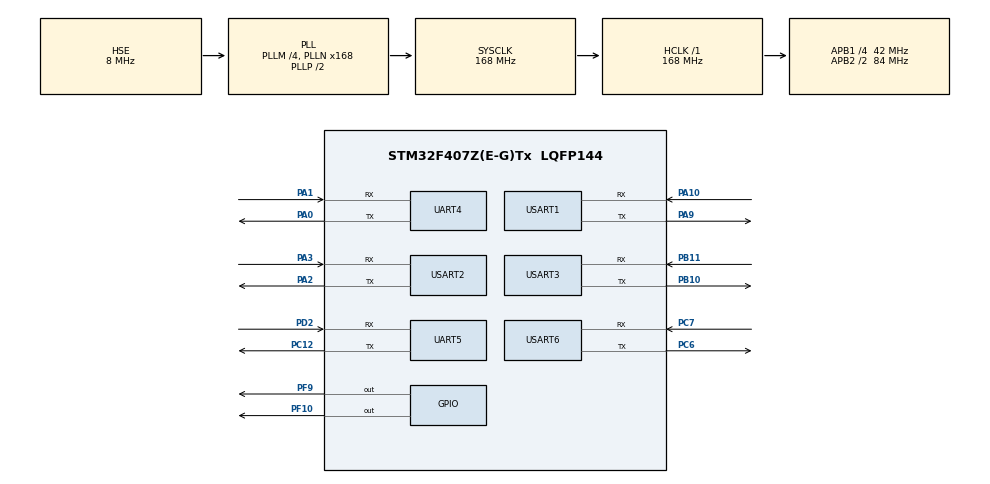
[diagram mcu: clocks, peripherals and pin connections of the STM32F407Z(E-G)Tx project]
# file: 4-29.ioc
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Dma.Request0=USART2_RX
Dma.Request1=USART3_RX
Dma.Request2=USART6_RX
Dma.Request3=USART3_TX
Dma.Request4=USART6_TX
Dma.Request5=USART1_RX
Dma.USART1_RX.5.Direction=DMA_PERIPH_TO_MEMORY
Dma.USART1_RX.5.FIFOMode=DMA_FIFOMODE_DISABLE
Dma.USART1_RX.5.Instance=DMA2_Stream2
Dma.USART1_RX.5.MemDataAlignment=DMA_MDATAALIGN_BYTE
Dma.USART1_RX.5.MemInc=DMA_MINC_ENABLE
Dma.USART1_RX.5.Mode=DMA_CIRCULAR
Dma.USART1_RX.5.PeriphDataAlignment=DMA_PDATAALIGN_BYTE
Dma.USART1_RX.5.PeriphInc=DMA_PINC_DISABLE
Dma.USART1_RX.5.Priority=DMA_PRIORITY_HIGH
Dma.USART2_RX.0.Direction=DMA_PERIPH_TO_MEMORY
Dma.USART2_RX.0.FIFOMode=DMA_FIFOMODE_DISABLE
Dma.USART2_RX.0.Instance=DMA1_Stream5
Dma.USART2_RX.0.MemDataAlignment=DMA_MDATAALIGN_BYTE
Dma.USART2_RX.0.MemInc=DMA_MINC_ENABLE
Dma.USART2_RX.0.Mode=DMA_CIRCULAR
Dma.USART2_RX.0.PeriphDataAlignment=DMA_PDATAALIGN_BYTE
Dma.USART2_RX.0.PeriphInc=DMA_PINC_DISABLE
Dma.USART2_RX.0.Priority=DMA_PRIORITY_MEDIUM
Dma.USART3_RX.1.Direction=DMA_PERIPH_TO_MEMORY
Dma.USART3_RX.1.FIFOMode=DMA_FIFOMODE_DISABLE
Dma.USART3_RX.1.Instance=DMA1_Stream1
Dma.USART3_RX.1.MemDataAlignment=DMA_MDATAALIGN_BYTE
Dma.USART3_RX.1.MemInc=DMA_MINC_ENABLE
Dma.USART3_RX.1.Mode=DMA_CIRCULAR
Dma.USART3_RX.1.PeriphDataAlignment=DMA_PDATAALIGN_BYTE
Dma.USART3_RX.1.PeriphInc=DMA_PINC_DISABLE
Dma.USART3_RX.1.Priority=DMA_PRIORITY_HIGH
Dma.USART3_TX.3.Direction=DMA_MEMORY_TO_PERIPH
Dma.USART3_TX.3.FIFOMode=DMA_FIFOMODE_DISABLE
Dma.USART3_TX.3.Instance=DMA1_Stream3
Dma.USART3_TX.3.MemDataAlignment=DMA_MDATAALIGN_BYTE
Dma.USART3_TX.3.MemInc=DMA_MINC_ENABLE
Dma.USART3_TX.3.Mode=DMA_NORMAL
Dma.USART3_TX.3.PeriphDataAlignment=DMA_PDATAALIGN_BYTE
Dma.USART3_TX.3.PeriphInc=DMA_PINC_DISABLE
Dma.USART3_TX.3.Priority=DMA_PRIORITY_HIGH
Dma.USART6_RX.2.Direction=DMA_PERIPH_TO_MEMORY
Dma.USART6_RX.2.FIFOMode=DMA_FIFOMODE_DISABLE
Dma.USART6_RX.2.Instance=DMA2_Stream1
Dma.USART6_RX.2.MemDataAlignment=DMA_MDATAALIGN_BYTE
Dma.USART6_RX.2.MemInc=DMA_MINC_ENABLE
Dma.USART6_RX.2.Mode=DMA_CIRCULAR
Dma.USART6_RX.2.PeriphDataAlignment=DMA_PDATAALIGN_BYTE
Dma.USART6_RX.2.PeriphInc=DMA_PINC_DISABLE
Dma.USART6_RX.2.Priority=DMA_PRIORITY_MEDIUM
Dma.USART6_TX.4.Direction=DMA_MEMORY_TO_PERIPH
Dma.USART6_TX.4.FIFOMode=DMA_FIFOMODE_DISABLE
Dma.USART6_TX.4.Instance=DMA2_Stream6
Dma.USART6_TX.4.MemDataAlignment=DMA_MDATAALIGN_BYTE
Dma.USART6_TX.4.MemInc=DMA_MINC_ENABLE
Dma.USART6_TX.4.Mode=DMA_NORMAL
Dma.USART6_TX.4.PeriphDataAlignment=DMA_PDATAALIGN_BYTE
Dma.USART6_TX.4.PeriphInc=DMA_PINC_DISABLE
Dma.USART6_TX.4.Priority=DMA_PRIORITY_MEDIUM
Mcu.Family=STM32F4
Mcu.Name=STM32F407Z(E-G)Tx
Mcu.Package=LQFP144
NVIC.DMA1_Stream1_IRQn=true\:0\:0\:false\:false\:true\:false\:true\:true
NVIC.DMA1_Stream3_IRQn=true\:0\:0\:false\:false\:true\:false\:true\:true
NVIC.DMA1_Stream5_IRQn=true\:0\:0\:false\:false\:true\:false\:true\:true
NVIC.DMA2_Stream1_IRQn=true\:0\:0\:false\:false\:true\:false\:true\:true
NVIC.DMA2_Stream2_IRQn=true\:0\:0\:false\:false\:true\:false\:true\:true
NVIC.DMA2_Stream6_IRQn=true\:0\:0\:false\:false\:true\:false\:true\:true
NVIC.PriorityGroup=NVIC_PRIORITYGROUP_4
NVIC.UART4_IRQn=true\:0\:0\:false\:false\:true\:true\:true\:true
NVIC.UART5_IRQn=true\:0\:0\:false\:false\:true\:true\:true\:true
NVIC.USART1_IRQn=true\:0\:0\:false\:false\:true\:true\:true\:true
NVIC.USART2_IRQn=true\:0\:0\:false\:false\:true\:true\:true\:true
NVIC.USART3_IRQn=true\:0\:0\:false\:false\:true\:true\:true\:true
NVIC.USART6_IRQn=true\:0\:0\:false\:false\:true\:true\:true\:true
PA0-WKUP.Mode=Asynchronous
PA0-WKUP.Signal=UART4_TX
PA1.Mode=Asynchronous
PA1.Signal=UART4_RX
PA10.GPIO_PuPd=GPIO_PULLUP
PA10.Mode=Asynchronous
PA10.Signal=USART1_RX
PA13.Mode=Serial_Wire
PA13.Signal=SYS_JTMS-SWDIO
PA14.Mode=Serial_Wire
PA14.Signal=SYS_JTCK-SWCLK
PA2.Mode=Asynchronous
PA2.Signal=USART2_TX
PA3.Mode=Asynchronous
PA3.Signal=USART2_RX
PA9.GPIO_PuPd=GPIO_PULLUP
PA9.Mode=Asynchronous
PA9.Signal=USART1_TX
PB10.Mode=Asynchronous
PB10.Signal=USART3_TX
PB11.Mode=Asynchronous
PB11.Signal=USART3_RX
PC12.Mode=Asynchronous
PC12.Signal=UART5_TX
PC6.GPIO_PuPd=GPIO_PULLUP
PC6.Mode=Asynchronous
PC6.Signal=USART6_TX
PC7.GPIO_PuPd=GPIO_PULLUP
PC7.Mode=Asynchronous
PC7.Signal=USART6_RX
PD2.Mode=Asynchronous
PD2.Signal=UART5_RX
PF10.Signal=GPIO_Output
PF9.Signal=GPIO_Output
PH0-OSC_IN.Mode=HSE-External-Oscillator
PH0-OSC_IN.Signal=RCC_OSC_IN
PH1-OSC_OUT.Mode=HSE-External-Oscillator
PH1-OSC_OUT.Signal=RCC_OSC_OUT
ProjectManager.HeapSize=0x200
ProjectManager.StackSize=0x400
ProjectManager.TargetToolchain=MDK-ARM V5.32
RCC.48MHZClocksFreq_Value=84000000
RCC.AHBFreq_Value=168000000
RCC.APB1CLKDivider=RCC_HCLK_DIV4
RCC.APB1Freq_Value=42000000
RCC.APB1TimFreq_Value=84000000
RCC.APB2CLKDivider=RCC_HCLK_DIV2
RCC.APB2Freq_Value=84000000
RCC.APB2TimFreq_Value=168000000
RCC.CortexFreq_Value=168000000
RCC.HCLKFreq_Value=168000000
RCC.HSE_VALUE=8000000
RCC.HSI_VALUE=16000000
RCC.LSE_VALUE=32768
RCC.PLLM=4
RCC.PLLN=168
RCC.PLLSourceVirtual=RCC_PLLSOURCE_HSE
RCC.SYSCLKFreq_VALUE=168000000
RCC.SYSCLKSource=RCC_SYSCLKSOURCE_PLLCLK
RCC.VCOOutputFreq_Value=336000000
UART4.VirtualMode=Asynchronous
UART5.VirtualMode=Asynchronous
USART1.VirtualMode=VM_ASYNC
USART2.VirtualMode=VM_ASYNC
USART3.VirtualMode=VM_ASYNC
USART6.VirtualMode=VM_ASYNC
board=custom

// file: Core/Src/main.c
/* USER CODE BEGIN Header */
/**
 ******************************************************************************
 * @file           : main.c
 * @brief          : Main program body
 ******************************************************************************
 * @attention
 *
 * Copyright (c) 2026 STMicroelectronics.
 * All rights reserved.
 *
 * This software is licensed under terms that can be found in the LICENSE file
 * in the root directory of this software component.
 * If no LICENSE file comes with this software, it is provided AS-IS.
 *
 ******************************************************************************
 */
/* USER CODE END Header */
#include "main.h"

/* USER CODE BEGIN Includes */
#include <stdio.h>
#include "drive_bus_servo.h"
#include "sensor_ops.h"
#include "sensor_wit.h"
#include "drive_emm.h"
#include "advance_chassis.h"
#include "advance_world.h"
#include "comm_pc.h"
#include "car_pose.h"

/* USER CODE END Includes */

/* USER CODE BEGIN PD */
#define ENABLE_DATOU_POWERON_TEST 0
#define WORLD_ORIGIN_STATIC_WAIT_MS ((uint32_t)15000U)

/* USER CODE END PD */

UART_HandleTypeDef huart4;
UART_HandleTypeDef huart5;
UART_HandleTypeDef huart1;
UART_HandleTypeDef huart2;
UART_HandleTypeDef huart3;
UART_HandleTypeDef huart6;
DMA_HandleTypeDef hdma_usart1_rx;
DMA_HandleTypeDef hdma_usart2_rx;
DMA_HandleTypeDef hdma_usart3_rx;
DMA_HandleTypeDef hdma_usart3_tx;
DMA_HandleTypeDef hdma_usart6_rx;
DMA_HandleTypeDef hdma_usart6_tx;

/* USER CODE BEGIN PV */
// static uint32_t g_wit_print_tick = 0U;
static uint32_t g_world_origin_retry_tick = 0U;
/* USER CODE END PV */

void SystemClock_Config(void);
static void MX_GPIO_Init(void);
static void MX_DMA_Init(void);
static void MX_UART4_Init(void);
static void MX_UART5_Init(void);
static void MX_USART1_UART_Init(void);
static void MX_USART2_UART_Init(void);
static void MX_USART3_UART_Init(void);
static void MX_USART6_UART_Init(void);

/* USER CODE BEGIN 0 */
int fputc(int ch, FILE *f)
{
  (void)f;
  uint8_t byte = (uint8_t)ch;
  HAL_UART_Transmit(&huart1, &byte, 1, HAL_MAX_DELAY);
  return ch;
}

void testEmmV5Datou(uint8_t id)
{
  const uint16_t vel_rpm = 300U;
  const uint8_t acc = 10U;
  const uint32_t one_turn_pulse = 3200U;

  drive_emm_En_Control(id, true, false);
  HAL_Delay(100);

  drive_emm_Vel_Control(id, 0U, vel_rpm, acc, false);
  HAL_Delay(1500);
  drive_emm_Stop_Now(id, false);
  HAL_Delay(500);

  drive_emm_Vel_Control(id, 1U, vel_rpm, acc, false);
  HAL_Delay(1500);
  drive_emm_Stop_Now(id, false);
  HAL_Delay(500);

  drive_emm_Pos_Control(id, 0U, vel_rpm, acc, one_turn_pulse, false, false);
  HAL_Delay(3000);

  drive_emm_Pos_Control(id, 1U, vel_rpm, acc, one_turn_pulse, false, false);
  HAL_Delay(3000);

  drive_emm_Stop_Now(id, false);
}

void situation_led()
{
  // 状态指示灯：每 500ms 翻转一次 GPIO 状态
  // 如果烧录成功并正常运行，可以看到板载 LED 闪烁
  static uint32_t led_tick = 0;
  if (HAL_GetTick() - led_tick >= 500)
  {
    led_tick = HAL_GetTick();
    // 翻转 PF9 红色 LED 和 PF10 绿色 LED
    HAL_GPIO_TogglePin(GPIOF, GPIO_PIN_9);
    HAL_GPIO_TogglePin(GPIOF, GPIO_PIN_10);
  }
}

/* USER CODE END 0 */

int main(void)
{

  /* MCU Configuration--------------------------------------------------------*/

  /* Reset of all peripherals, Initializes the Flash interface and the Systick. */
  HAL_Init();

  /* Configure the system clock */
  SystemClock_Config();

  /* Initialize all configured peripherals */
  MX_GPIO_Init();
  MX_DMA_Init();
  MX_UART4_Init();
  MX_UART5_Init();
  MX_USART1_UART_Init();
  MX_USART2_UART_Init();
  MX_USART3_UART_Init();
  MX_USART6_UART_Init();
  /* USER CODE BEGIN 2 */
  BusServo_Init(&huart4);
  OPS_Init(&huart5);
  WIT_Init();
  CarPose_Init();
  AdvanceWorld_Init();

  if (HostRx_InitPc(&huart1) != comm_pc_STATUS_OK)
  {
    printf("HostRx PC init failed\r\n");
  }

  if (HostRx_InitJetson(&huart6) != comm_pc_STATUS_OK)
  {
    printf("HostRx Jetson init failed\r\n");
  }

  printf("USART1 printf ready\r\n");
  HAL_Delay(100);

#if ENABLE_DATOU_POWERON_TEST
  testEmmV5Datou(1);
  HAL_Delay(500);
#endif

  printf("OPS static init wait %lu ms\r\n", (unsigned long)WORLD_ORIGIN_STATIC_WAIT_MS);
  HAL_Delay(WORLD_ORIGIN_STATIC_WAIT_MS);
  if (AdvanceWorld_ResetOrigin() == ADVANCE_WORLD_STATUS_OK)
  {
    printf("AdvanceWorld origin ready\r\n");
  }
  else
  {
    printf("AdvanceWorld origin failed, keep polling OPS\r\n");
  }

  /* USER CODE END 2 */

  /* Infinite loop */
  while (1)
  {

    /* USER CODE BEGIN 3 */
    // BusServo_Poll();
    OPS_Poll();
    WIT_Poll();
    AdvanceWorld_Poll();
    if ((AdvanceWorld_GetPose()->origin_ready == 0U) &&
        ((HAL_GetTick() - g_world_origin_retry_tick) >= 1000U))
    {
      g_world_origin_retry_tick = HAL_GetTick();
      (void)AdvanceWorld_ResetOrigin();
    }
    AdvanceWorld_PrintDebug();
    HostRx_Poll();
    situation_led();
  }
  /* USER CODE END 3 */
}

void SystemClock_Config(void)
{
  RCC_OscInitTypeDef RCC_OscInitStruct = {0};
  RCC_ClkInitTypeDef RCC_ClkInitStruct = {0};

  /** Configure the main internal regulator output voltage
  */
  __HAL_RCC_PWR_CLK_ENABLE();
  __HAL_PWR_VOLTAGESCALING_CONFIG(PWR_REGULATOR_VOLTAGE_SCALE1);

  /** Initializes the RCC Oscillators according to the specified parameters
  * in the RCC_OscInitTypeDef structure.
  */
  RCC_OscInitStruct.OscillatorType = RCC_OSCILLATORTYPE_HSE;
  RCC_OscInitStruct.HSEState = RCC_HSE_ON;
  RCC_OscInitStruct.PLL.PLLState = RCC_PLL_ON;
  RCC_OscInitStruct.PLL.PLLSource = RCC_PLLSOURCE_HSE;
  RCC_OscInitStruct.PLL.PLLM = 4;
  RCC_OscInitStruct.PLL.PLLN = 168;
  RCC_OscInitStruct.PLL.PLLP = RCC_PLLP_DIV2;
  RCC_OscInitStruct.PLL.PLLQ = 4;
  if (HAL_RCC_OscConfig(&RCC_OscInitStruct) != HAL_OK)
  {
    Error_Handler();
  }

  /** Initializes the CPU, AHB and APB buses clocks
  */
  RCC_ClkInitStruct.ClockType = RCC_CLOCKTYPE_HCLK|RCC_CLOCKTYPE_SYSCLK
                              |RCC_CLOCKTYPE_PCLK1|RCC_CLOCKTYPE_PCLK2;
  RCC_ClkInitStruct.SYSCLKSource = RCC_SYSCLKSOURCE_PLLCLK;
  RCC_ClkInitStruct.AHBCLKDivider = RCC_SYSCLK_DIV1;
  RCC_ClkInitStruct.APB1CLKDivider = RCC_HCLK_DIV4;
  RCC_ClkInitStruct.APB2CLKDivider = RCC_HCLK_DIV2;

  if (HAL_RCC_ClockConfig(&RCC_ClkInitStruct, FLASH_LATENCY_5) != HAL_OK)
  {
    Error_Handler();
  }
}

static void MX_UART4_Init(void)
{

  huart4.Instance = UART4;
  huart4.Init.BaudRate = 115200;
  huart4.Init.WordLength = UART_WORDLENGTH_8B;
  huart4.Init.StopBits = UART_STOPBITS_1;
  huart4.Init.Parity = UART_PARITY_NONE;
  huart4.Init.Mode = UART_MODE_TX_RX;
  huart4.Init.HwFlowCtl = UART_HWCONTROL_NONE;
  huart4.Init.OverSampling = UART_OVERSAMPLING_16;
  if (HAL_UART_Init(&huart4) != HAL_OK)
  {
    Error_Handler();
  }

}

static void MX_UART5_Init(void)
{

  huart5.Instance = UART5;
  huart5.Init.BaudRate = 115200;
  huart5.Init.WordLength = UART_WORDLENGTH_8B;
  huart5.Init.StopBits = UART_STOPBITS_1;
  huart5.Init.Parity = UART_PARITY_NONE;
  huart5.Init.Mode = UART_MODE_TX_RX;
  huart5.Init.HwFlowCtl = UART_HWCONTROL_NONE;
  huart5.Init.OverSampling = UART_OVERSAMPLING_16;
  if (HAL_UART_Init(&huart5) != HAL_OK)
  {
    Error_Handler();
  }

}

static void MX_USART1_UART_Init(void)
{

  huart1.Instance = USART1;
  huart1.Init.BaudRate = 115200;
  huart1.Init.WordLength = UART_WORDLENGTH_8B;
  huart1.Init.StopBits = UART_STOPBITS_1;
  huart1.Init.Parity = UART_PARITY_NONE;
  huart1.Init.Mode = UART_MODE_TX_RX;
  huart1.Init.HwFlowCtl = UART_HWCONTROL_NONE;
  huart1.Init.OverSampling = UART_OVERSAMPLING_16;
  if (HAL_UART_Init(&huart1) != HAL_OK)
  {
    Error_Handler();
  }

}

static void MX_USART2_UART_Init(void)
{

  huart2.Instance = USART2;
  huart2.Init.BaudRate = 115200;
  huart2.Init.WordLength = UART_WORDLENGTH_8B;
  huart2.Init.StopBits = UART_STOPBITS_1;
  huart2.Init.Parity = UART_PARITY_NONE;
  huart2.Init.Mode = UART_MODE_TX_RX;
  huart2.Init.HwFlowCtl = UART_HWCONTROL_NONE;
  huart2.Init.OverSampling = UART_OVERSAMPLING_16;
  if (HAL_UART_Init(&huart2) != HAL_OK)
  {
    Error_Handler();
  }

}

static void MX_USART3_UART_Init(void)
{

  huart3.Instance = USART3;
  huart3.Init.BaudRate = 115200;
  huart3.Init.WordLength = UART_WORDLENGTH_8B;
  huart3.Init.StopBits = UART_STOPBITS_1;
  huart3.Init.Parity = UART_PARITY_NONE;
  huart3.Init.Mode = UART_MODE_TX_RX;
  huart3.Init.HwFlowCtl = UART_HWCONTROL_NONE;
  huart3.Init.OverSampling = UART_OVERSAMPLING_16;
  if (HAL_UART_Init(&huart3) != HAL_OK)
  {
    Error_Handler();
  }

}

static void MX_USART6_UART_Init(void)
{

  huart6.Instance = USART6;
  huart6.Init.BaudRate = 115200;
  huart6.Init.WordLength = UART_WORDLENGTH_8B;
  huart6.Init.StopBits = UART_STOPBITS_1;
  huart6.Init.Parity = UART_PARITY_NONE;
  huart6.Init.Mode = UART_MODE_TX_RX;
  huart6.Init.HwFlowCtl = UART_HWCONTROL_NONE;
  huart6.Init.OverSampling = UART_OVERSAMPLING_16;
  if (HAL_UART_Init(&huart6) != HAL_OK)
  {
    Error_Handler();
  }

}

static void MX_DMA_Init(void)
{

  /* DMA controller clock enable */
  __HAL_RCC_DMA1_CLK_ENABLE();
  __HAL_RCC_DMA2_CLK_ENABLE();

  /* DMA interrupt init */
  /* DMA1_Stream1_IRQn interrupt configuration */
  HAL_NVIC_SetPriority(DMA1_Stream1_IRQn, 0, 0);
  HAL_NVIC_EnableIRQ(DMA1_Stream1_IRQn);
  /* DMA1_Stream3_IRQn interrupt configuration */
  HAL_NVIC_SetPriority(DMA1_Stream3_IRQn, 0, 0);
  HAL_NVIC_EnableIRQ(DMA1_Stream3_IRQn);
  /* DMA1_Stream5_IRQn interrupt configuration */
  HAL_NVIC_SetPriority(DMA1_Stream5_IRQn, 0, 0);
  HAL_NVIC_EnableIRQ(DMA1_Stream5_IRQn);
  /* DMA2_Stream1_IRQn interrupt configuration */
  HAL_NVIC_SetPriority(DMA2_Stream1_IRQn, 0, 0);
  HAL_NVIC_EnableIRQ(DMA2_Stream1_IRQn);
  /* DMA2_Stream2_IRQn interrupt configuration */
  HAL_NVIC_SetPriority(DMA2_Stream2_IRQn, 0, 0);
  HAL_NVIC_EnableIRQ(DMA2_Stream2_IRQn);
  /* DMA2_Stream6_IRQn interrupt configuration */
  HAL_NVIC_SetPriority(DMA2_Stream6_IRQn, 0, 0);
  HAL_NVIC_EnableIRQ(DMA2_Stream6_IRQn);

}

static void MX_GPIO_Init(void)
{
  GPIO_InitTypeDef GPIO_InitStruct = {0};

  /* GPIO Ports Clock Enable */
  __HAL_RCC_GPIOF_CLK_ENABLE();
  __HAL_RCC_GPIOH_CLK_ENABLE();
  __HAL_RCC_GPIOA_CLK_ENABLE();
  __HAL_RCC_GPIOB_CLK_ENABLE();
  __HAL_RCC_GPIOC_CLK_ENABLE();
  __HAL_RCC_GPIOD_CLK_ENABLE();

  /*Configure GPIO pin Output Level */
  HAL_GPIO_WritePin(GPIOF, GPIO_PIN_9|GPIO_PIN_10, GPIO_PIN_RESET);

  /*Configure GPIO pins : PF9 PF10 */
  GPIO_InitStruct.Pin = GPIO_PIN_9|GPIO_PIN_10;
  GPIO_InitStruct.Mode = GPIO_MODE_OUTPUT_PP;
  GPIO_InitStruct.Pull = GPIO_NOPULL;
  GPIO_InitStruct.Speed = GPIO_SPEED_FREQ_LOW;
  HAL_GPIO_Init(GPIOF, &GPIO_InitStruct);

}

/* USER CODE BEGIN 4 */

void HAL_UART_RxCpltCallback(UART_HandleTypeDef *huart)
{
  if (huart->Instance == UART4)
  {
    BusServo_OnByteReceived();
  }

  if (huart->Instance == UART5)
  {
    OPS_OnByteReceived();
  }

}

void HAL_UARTEx_RxEventCallback(UART_HandleTypeDef *huart, uint16_t Size)
{
  if (huart->Instance == USART2)
  {
    WIT_OnUartRxEvent(huart, Size);
  }

  if (huart->Instance == USART1)
  {
    HostRx_OnUartRxEvent(huart, Size);
  }

  if (huart->Instance == USART6)
  {
    HostRx_OnUartRxEvent(huart, Size);
  }
}

void HAL_UART_ErrorCallback(UART_HandleTypeDef *huart)
{
  if (huart->Instance == UART4)
  {
    BusServo_OnUartError();
  }

  if (huart->Instance == UART5)
  {
    OPS_OnUartError();
  }

  if (huart->Instance == USART2)
  {
    WIT_OnUartError(huart);
  }

  if (huart->Instance == USART6)
  {
    HostRx_OnUartError(huart);
  }

  if (huart->Instance == USART1)
  {
    HostRx_OnUartError(huart);
  }
}

/* USER CODE END 4 */

void Error_Handler(void)
{
  __disable_irq();
  while (1)
  {
  }
}
